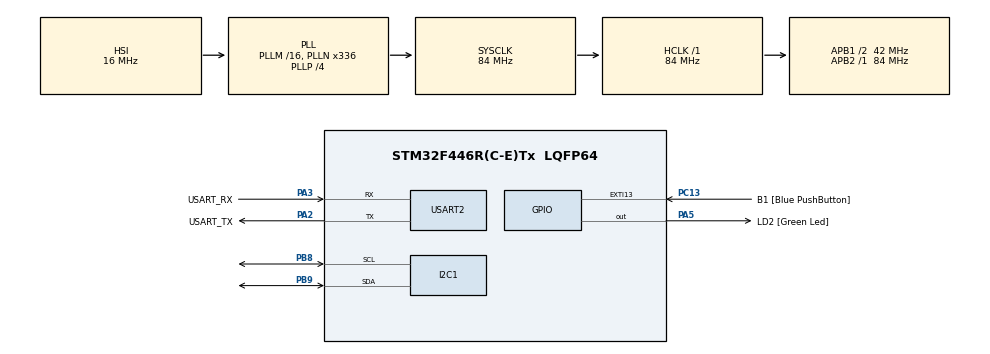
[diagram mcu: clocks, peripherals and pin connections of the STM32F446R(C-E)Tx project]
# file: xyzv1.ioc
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I2C1.I2C_Mode=I2C_Fast
Mcu.Family=STM32F4
Mcu.Name=STM32F446R(C-E)Tx
Mcu.Package=LQFP64
NVIC.PriorityGroup=NVIC_PRIORITYGROUP_0
PA13.GPIO_Label=TMS
PA13.Mode=Serial_Wire
PA13.Signal=SYS_JTMS-SWDIO
PA14.GPIO_Label=TCK
PA14.Mode=Serial_Wire
PA14.Signal=SYS_JTCK-SWCLK
PA2.GPIO_Label=USART_TX
PA2.Mode=Asynchronous
PA2.Signal=USART2_TX
PA3.GPIO_Label=USART_RX
PA3.Mode=Asynchronous
PA3.Signal=USART2_RX
PA5.GPIO_Label=LD2 [Green Led]
PA5.Signal=GPIO_Output
PB3.GPIO_Label=SWO
PB3.Signal=SYS_JTDO-SWO
PB8.Mode=I2C
PB8.Signal=I2C1_SCL
PB9.Mode=I2C
PB9.Signal=I2C1_SDA
PC13.GPIO_Label=B1 [Blue PushButton]
PC13.GPIO_ModeDefaultEXTI=GPIO_MODE_IT_FALLING
PC13.Signal=GPXTI13
PC14-OSC32_IN.Mode=LSE-External-Oscillator
PC14-OSC32_IN.Signal=RCC_OSC32_IN
PC15-OSC32_OUT.Mode=LSE-External-Oscillator
PC15-OSC32_OUT.Signal=RCC_OSC32_OUT
PH0-OSC_IN.Mode=HSE-External-Oscillator
PH0-OSC_IN.Signal=RCC_OSC_IN
PH1-OSC_OUT.Mode=HSE-External-Oscillator
PH1-OSC_OUT.Signal=RCC_OSC_OUT
ProjectManager.HeapSize=0x200
ProjectManager.StackSize=0x400
ProjectManager.TargetToolchain=STM32CubeIDE
RCC.48MHZClocksFreq_Value=84000000
RCC.AHBFreq_Value=84000000
RCC.APB1CLKDivider=RCC_HCLK_DIV2
RCC.APB1Freq_Value=42000000
RCC.APB1TimFreq_Value=84000000
RCC.APB2Freq_Value=84000000
RCC.APB2TimFreq_Value=84000000
RCC.CortexFreq_Value=84000000
RCC.FLatency-AdvancedSettings=FLASH_LATENCY_2
RCC.HCLKFreq_Value=84000000
RCC.HSE_VALUE=8000000
RCC.HSI_VALUE=16000000
RCC.PLLN=336
RCC.PLLP=RCC_PLLP_DIV4
RCC.SYSCLKFreq_VALUE=84000000
RCC.SYSCLKSource=RCC_SYSCLKSOURCE_PLLCLK
RCC.USBFreq_Value=168000000
RCC.VCOOutputFreq_Value=336000000
USART2.VirtualMode=VM_ASYNC
board=NUCLEO-F446RE

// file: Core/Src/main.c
/* USER CODE BEGIN Header */
/**
  ******************************************************************************
  * @file           : main.c
  * @brief          : Main program body
  ******************************************************************************
  * @attention
  *
  * Copyright (c) 2023 STMicroelectronics.
  * All rights reserved.
  *
  * This software is licensed under terms that can be found in the LICENSE file
  * in the root directory of this software component.
  * If no LICENSE file comes with this software, it is provided AS-IS.
  *
  ******************************************************************************
  */
/* USER CODE END Header */
#include "main.h"

/* USER CODE BEGIN Includes */
uint8_t buf[6];
uint8_t LIS3DH_ADDR = 0x19;

#include <stdio.h>

//uint8_t ctrl_reg1 = 0x20;
//uint8_t state_reg = 0x27;
int ret;

char uart_buf[50];
int uart_buf_len;
int16_t x_i;
float x_f;

int16_t y_i;
float y_f;

int16_t z_i;
float z_f;
/* USER CODE END Includes */

I2C_HandleTypeDef hi2c1;

UART_HandleTypeDef huart2;

void SystemClock_Config(void);
static void MX_GPIO_Init(void);
static void MX_USART2_UART_Init(void);
static void MX_I2C1_Init(void);

int main(void)
{

  /* MCU Configuration--------------------------------------------------------*/

  /* Reset of all peripherals, Initializes the Flash interface and the Systick. */
  HAL_Init();

  /* Configure the system clock */
  SystemClock_Config();

  /* Initialize all configured peripherals */
  MX_GPIO_Init();
  MX_USART2_UART_Init();
  MX_I2C1_Init();
  /* USER CODE BEGIN 2 */
  	  buf[0] = 0x20;
  	  buf[1] = 0x27;
  	  ret = HAL_I2C_Master_Transmit(&hi2c1, LIS3DH_ADDR<<1,buf , 2, HAL_MAX_DELAY);
  /* USER CODE END 2 */

  /* Infinite loop */
  /* USER CODE BEGIN WHILE */
  while (1)
  {
	  if(ret == HAL_OK){
		  buf[0] = 0x28|0x80;
		  ret = HAL_I2C_Master_Transmit(&hi2c1, LIS3DH_ADDR<<1, buf, 1, HAL_MAX_DELAY);
	  }
	  if(ret == HAL_OK){
		  ret = HAL_I2C_Master_Receive(&hi2c1, LIS3DH_ADDR<<1, buf, 6, HAL_MAX_DELAY);
	  }
	  x_i = (int16_t)((uint16_t) buf[1] << 8 | (uint16_t) buf[0] );
	  x_f = (float) x_i / 16000.0f;

	  y_i = (int16_t)((uint16_t) buf[3] << 8 | (uint16_t) buf[4] );
	  y_f = (float) y_i / 16000.0f;

	  z_i = (int16_t)((uint16_t) buf[5] << 8 | (uint16_t) buf[6] );
	  z_f = (float) z_i / 16000.0f;

	 uart_buf_len = snprintf(uart_buf, sizeof(uart_buf), "x-as: %4.3f, y-as: %4.3f, z-as: %4.3f\r\n", x_f, y_f, z_f);
	 HAL_UART_Transmit(&huart2, (uint8_t *) uart_buf, uart_buf_len, HAL_MAX_DELAY);
	 HAL_Delay(250);
    /* USER CODE END WHILE */

  }
}

void SystemClock_Config(void)
{
  RCC_OscInitTypeDef RCC_OscInitStruct = {0};
  RCC_ClkInitTypeDef RCC_ClkInitStruct = {0};

  /** Configure the main internal regulator output voltage
  */
  __HAL_RCC_PWR_CLK_ENABLE();
  __HAL_PWR_VOLTAGESCALING_CONFIG(PWR_REGULATOR_VOLTAGE_SCALE3);

  /** Initializes the RCC Oscillators according to the specified parameters
  * in the RCC_OscInitTypeDef structure.
  */
  RCC_OscInitStruct.OscillatorType = RCC_OSCILLATORTYPE_HSI;
  RCC_OscInitStruct.HSIState = RCC_HSI_ON;
  RCC_OscInitStruct.HSICalibrationValue = RCC_HSICALIBRATION_DEFAULT;
  RCC_OscInitStruct.PLL.PLLState = RCC_PLL_ON;
  RCC_OscInitStruct.PLL.PLLSource = RCC_PLLSOURCE_HSI;
  RCC_OscInitStruct.PLL.PLLM = 16;
  RCC_OscInitStruct.PLL.PLLN = 336;
  RCC_OscInitStruct.PLL.PLLP = RCC_PLLP_DIV4;
  RCC_OscInitStruct.PLL.PLLQ = 2;
  RCC_OscInitStruct.PLL.PLLR = 2;
  if (HAL_RCC_OscConfig(&RCC_OscInitStruct) != HAL_OK)
  {
    Error_Handler();
  }

  /** Initializes the CPU, AHB and APB buses clocks
  */
  RCC_ClkInitStruct.ClockType = RCC_CLOCKTYPE_HCLK|RCC_CLOCKTYPE_SYSCLK
                              |RCC_CLOCKTYPE_PCLK1|RCC_CLOCKTYPE_PCLK2;
  RCC_ClkInitStruct.SYSCLKSource = RCC_SYSCLKSOURCE_PLLCLK;
  RCC_ClkInitStruct.AHBCLKDivider = RCC_SYSCLK_DIV1;
  RCC_ClkInitStruct.APB1CLKDivider = RCC_HCLK_DIV2;
  RCC_ClkInitStruct.APB2CLKDivider = RCC_HCLK_DIV1;

  if (HAL_RCC_ClockConfig(&RCC_ClkInitStruct, FLASH_LATENCY_2) != HAL_OK)
  {
    Error_Handler();
  }
}

static void MX_I2C1_Init(void)
{

  hi2c1.Instance = I2C1;
  hi2c1.Init.ClockSpeed = 400000;
  hi2c1.Init.DutyCycle = I2C_DUTYCYCLE_2;
  hi2c1.Init.OwnAddress1 = 0;
  hi2c1.Init.AddressingMode = I2C_ADDRESSINGMODE_7BIT;
  hi2c1.Init.DualAddressMode = I2C_DUALADDRESS_DISABLE;
  hi2c1.Init.OwnAddress2 = 0;
  hi2c1.Init.GeneralCallMode = I2C_GENERALCALL_DISABLE;
  hi2c1.Init.NoStretchMode = I2C_NOSTRETCH_DISABLE;
  if (HAL_I2C_Init(&hi2c1) != HAL_OK)
  {
    Error_Handler();
  }

}

static void MX_USART2_UART_Init(void)
{

  huart2.Instance = USART2;
  huart2.Init.BaudRate = 115200;
  huart2.Init.WordLength = UART_WORDLENGTH_8B;
  huart2.Init.StopBits = UART_STOPBITS_1;
  huart2.Init.Parity = UART_PARITY_NONE;
  huart2.Init.Mode = UART_MODE_TX_RX;
  huart2.Init.HwFlowCtl = UART_HWCONTROL_NONE;
  huart2.Init.OverSampling = UART_OVERSAMPLING_16;
  if (HAL_UART_Init(&huart2) != HAL_OK)
  {
    Error_Handler();
  }

}

static void MX_GPIO_Init(void)
{
  GPIO_InitTypeDef GPIO_InitStruct = {0};

  /* GPIO Ports Clock Enable */
  __HAL_RCC_GPIOC_CLK_ENABLE();
  __HAL_RCC_GPIOH_CLK_ENABLE();
  __HAL_RCC_GPIOA_CLK_ENABLE();
  __HAL_RCC_GPIOB_CLK_ENABLE();

  /*Configure GPIO pin Output Level */
  HAL_GPIO_WritePin(LD2_GPIO_Port, LD2_Pin, GPIO_PIN_RESET);

  /*Configure GPIO pin : B1_Pin */
  GPIO_InitStruct.Pin = B1_Pin;
  GPIO_InitStruct.Mode = GPIO_MODE_IT_FALLING;
  GPIO_InitStruct.Pull = GPIO_NOPULL;
  HAL_GPIO_Init(B1_GPIO_Port, &GPIO_InitStruct);

  /*Configure GPIO pin : LD2_Pin */
  GPIO_InitStruct.Pin = LD2_Pin;
  GPIO_InitStruct.Mode = GPIO_MODE_OUTPUT_PP;
  GPIO_InitStruct.Pull = GPIO_NOPULL;
  GPIO_InitStruct.Speed = GPIO_SPEED_FREQ_LOW;
  HAL_GPIO_Init(LD2_GPIO_Port, &GPIO_InitStruct);

}

void Error_Handler(void)
{
  __disable_irq();
  while (1)
  {
  }
}
